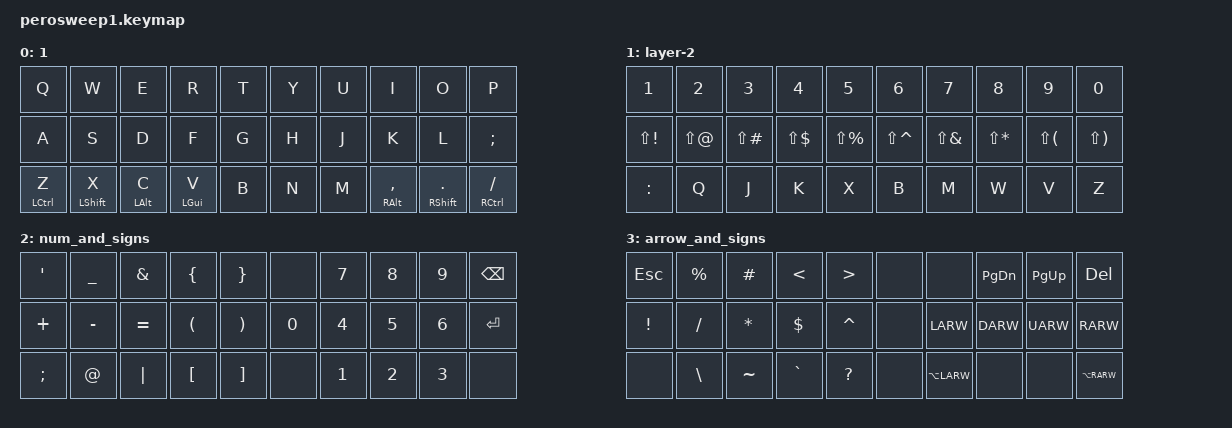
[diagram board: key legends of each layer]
#include <behaviors.dtsi>
#include <dt-bindings/zmk/keys.h>

#define ALPHA   0
#define NUM     1
#define ARROW   2
#define FKEYS   3
#define SYSTEM  4

&mt {
    // We use this for the MEH-key only.
    // Higher timeouts are required to prevent misfiring.

    tapping-term-ms = <230>;
    quick_tap_ms = <180>;
    global-quick-tap;
    flavor = "tap-preferred";
};

&sl { release-after-ms = <500>; };

/ {
    behaviors {
        lm: home_row_left {
            compatible = "zmk,behavior-hold-tap";
            label = "home_row_left";
            #binding-cells = <2>;
            tapping-term-ms = <220>;
            quick_tap_ms = <180>;
            flavor = "balanced";
            bindings = <&kp>, <&kp>;

            hold-trigger-key-positions = <5 6 7 8 9 15 16 17 18 19 25 26 27 28 29 32 33>;
        };

        rm: home_row_right {
            compatible = "zmk,behavior-hold-tap";
            label = "home_row_right";
            #binding-cells = <2>;
            tapping-term-ms = <220>;
            quick_tap_ms = <180>;
            flavor = "balanced";
            bindings = <&kp>, <&kp>;

            hold-trigger-key-positions = <0 1 2 3 4 10 11 12 13 14 20 21 22 23 24 30 31>;
        };
    };

    keymap {
        compatible = "zmk,keymap";

        layer_1 {
            bindings = <
&kp Q        &kp W        &kp E       &kp R           &kp T   &kp Y   &kp U   &kp I           &kp O             &kp P
&kp A        &kp S        &kp D       &kp F           &kp G   &kp H   &kp J   &kp K           &kp L             &kp SEMI
&mt LCTRL Z  &mt LSHFT X  &mt LALT C  &mt LEFT_GUI V  &kp B   &kp N   &kp M   &mt RALT COMMA  &mt RSHFT PERIOD  &mt RCTRL SLASH
            >;

            label = "1";
        };

        layer-2 {
            bindings = <
&kp N1        &kp N2      &kp N3         &kp N4        &kp N5         &kp N6         &kp N7        &kp N8        &kp N9        &kp N0
&kp LS(EXCL)  &kp LS(AT)  &kp LS(POUND)  &kp LS(DLLR)  &kp LS(PRCNT)  &kp LS(CARET)  &kp LS(AMPS)  &kp LS(STAR)  &kp LS(LPAR)  &kp LS(RPAR)
&kp COLON     &kp Q       &kp J          &kp K         &kp X          &kp B          &kp M         &kp W         &kp V         &kp Z
            >;
        };

        num_and_signs {
            bindings = <
&kp SQT   &kp UNDER  &kp AMPS   &kp LBRC  &kp RBRC  &none   &kp N7  &kp N8  &kp N9  &kp BKSP
&kp PLUS  &kp MINUS  &kp EQUAL  &kp LPAR  &kp RPAR  &kp N0  &kp N4  &kp N5  &kp N6  &kp ENTER
&kp SEMI  &kp AT     &kp PIPE   &kp LBKT  &kp RBKT  &none   &kp N1  &kp N2  &kp N3  &none
            >;
        };

        arrow_and_signs {
            bindings = <
&kp ESC   &kp PRCNT  &kp HASH   &kp LT     &kp GT     &none  &none         &kp PG_DN  &kp PG_UP  &kp DEL
&kp EXCL  &kp SLASH  &kp ASTRK  &kp DLLR   &kp CARET  &none  &kp LARW      &kp DARW   &kp UARW   &kp RARW
&none     &kp BSLH   &kp TILDE  &kp GRAVE  &kp QMARK  &none  &kp LA(LARW)  &none      &none      &kp LA(RARW)
            >;
        };
    };
};
